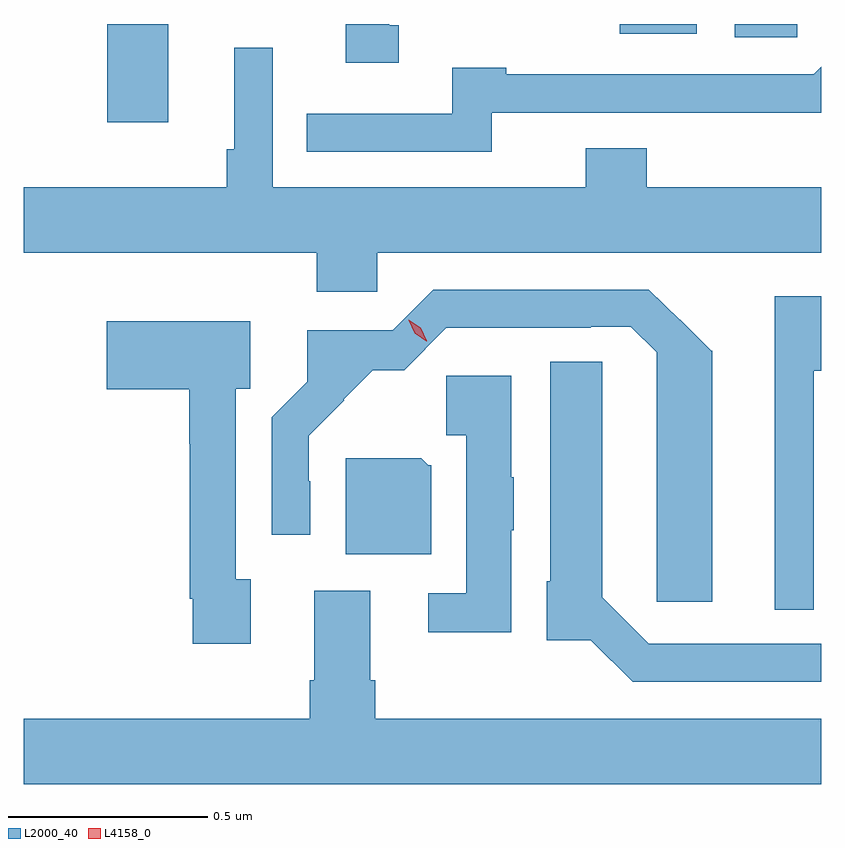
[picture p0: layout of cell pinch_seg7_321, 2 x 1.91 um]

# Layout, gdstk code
import gdstk
lib = gdstk.Library(unit=1e-6, precision=1e-09)
def R(c, l, rs):  # rectangles x0, y0, x1, y1
    for r in rs: c.add(gdstk.rectangle(r[:2], r[2:], *l))
def P(c, l, *ps):  # polygons
    for p in ps: c.add(gdstk.Polygon(p, *l))
L2000_40 = (2000, 40)
L4158_0 = (4158, 0)

pinch_seg7_321 = lib.new_cell('pinch_seg7_321')
R(pinch_seg7_321, L2000_40, [(549.193,1071.54,549.346,1071.786), (550.767,1071.753,550.924,1071.786), (550.479,1071.762,550.672,1071.786)])
P(pinch_seg7_321, L2000_40, [(549.925,1071.783),(549.901,1071.783),(549.901,1071.786),(549.792,1071.786),(549.792,1071.689),(549.925,1071.689)],
  [(549.87,1071.212),(550.984,1071.212),(550.984,1071.376),(550.547,1071.376),(550.547,1071.475),(550.394,1071.475),(550.394,1071.376),(549.609,1071.376),(549.609,1071.727),(549.512,1071.727),(549.512,1071.472),(549.493,1071.472),(549.493,1071.376),(548.984,1071.376),(548.984,1071.212),(549.719,1071.212),(549.719,1071.114),(549.87,1071.114)],
  [(550.158,1071.564),(550.63,1071.564),(550.63,1071.563),(550.984,1071.563),(550.984,1071.679),(550.965,1071.66),(550.194,1071.66),(550.194,1071.676),(550.058,1071.676),(550.058,1071.561),(549.694,1071.561),(549.694,1071.465),(550.158,1071.465)],
  [(550.711,1070.967),(550.708,1070.967),(550.631,1071.044),(550.63,1071.043),(550.552,1071.12),(550.011,1071.12),(549.909,1071.018),(549.695,1071.018),(549.695,1070.889),(549.606,1070.8),(549.606,1070.505),(549.702,1070.505),(549.702,1070.639),(549.699,1070.639),(549.699,1070.754),(549.788,1070.843),(549.786,1070.845),(549.859,1070.918),(549.938,1070.918),(550.044,1071.024),(550.406,1071.024),(550.406,1071.027),(550.506,1071.027),(550.571,1070.963),(550.571,1070.337),(550.711,1070.337)],
  [(550.965,1070.916),(550.984,1070.916),(550.984,1071.103),(550.868,1071.103),(550.868,1070.317),(550.965,1070.317)],
  [(549.553,1070.393),(549.516,1070.393),(549.516,1070.871),(549.552,1070.871),(549.552,1071.04),(549.192,1071.04),(549.192,1070.87),(549.399,1070.87),(549.399,1070.733),(549.4,1070.733),(549.4,1070.344),(549.408,1070.344),(549.408,1070.232),(549.553,1070.232)],
  [(550.984,1070.232),(550.551,1070.232),(550.435,1070.348),(550.435,1070.939),(550.304,1070.939),(550.304,1070.388),(550.295,1070.388),(550.295,1070.241),(550.406,1070.241),(550.511,1070.136),(550.984,1070.136)],
  [(550.207,1070.517),(550.213,1070.517),(550.213,1070.649),(550.207,1070.649),(550.207,1070.904),(550.044,1070.904),(550.044,1070.755),(550.094,1070.755),(550.094,1070.358),(549.999,1070.358),(549.999,1070.261),(550.207,1070.261)],
  [(550.006,1070.679),(549.999,1070.679),(549.981,1070.697),(549.791,1070.697),(549.791,1070.456),(550.006,1070.456)],
  [(550.984,1070.044),(549.866,1070.044),(549.866,1070.14),(549.853,1070.14),(549.853,1070.365),(549.713,1070.365),(549.713,1070.14),(549.701,1070.14),(549.701,1070.044),(548.984,1070.044),(548.984,1069.88),(550.984,1069.88)])
P(pinch_seg7_321, L4158_0, [(549.994,1070.99),(549.964,1071.011),(549.95,1071.043),(549.95,1071.044),(549.95,1071.044),(549.98,1071.024),(549.995,1070.991),(549.995,1070.99)])

lib.write_gds('pinch_seg7_321.gds')
